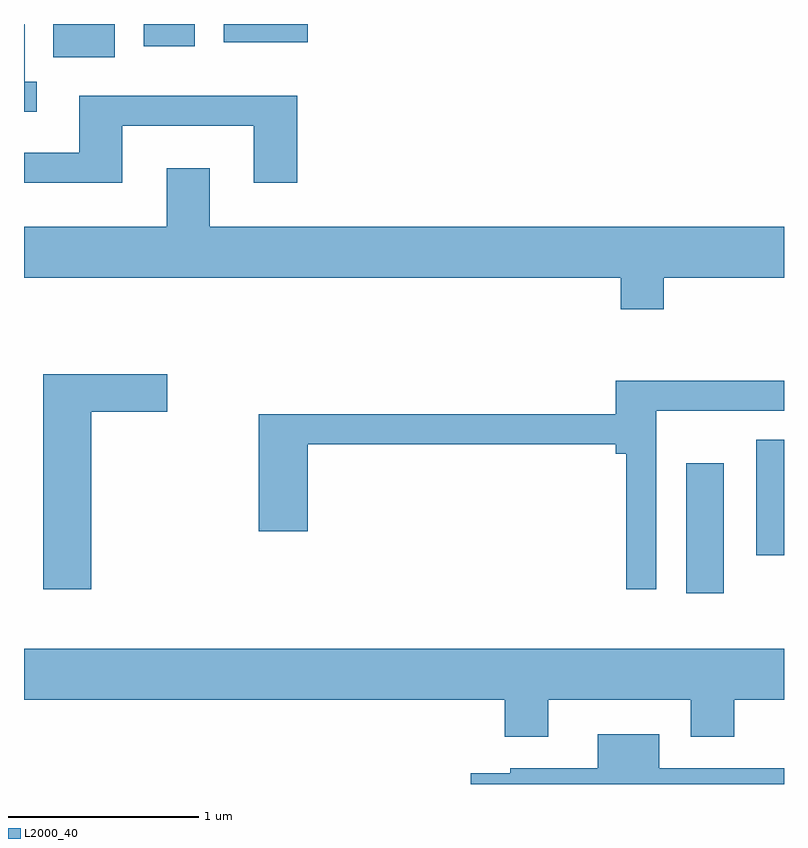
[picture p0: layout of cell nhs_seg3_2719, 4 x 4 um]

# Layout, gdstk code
import gdstk
lib = gdstk.Library(unit=1e-6, precision=1e-09)
def R(c, l, rs):  # rectangles x0, y0, x1, y1
    for r in rs: c.add(gdstk.rectangle(r[:2], r[2:], *l))
def P(c, l, *ps):  # polygons
    for p in ps: c.add(gdstk.Polygon(p, *l))
L2000_40 = (2000, 40)

nhs_seg3_2719 = lib.new_cell('nhs_seg3_2719')
R(nhs_seg3_2719, L2000_40, [(267.096,1250.896,267.294,1251.579), (267.466,1251.096,267.611,1251.704), (263.766,1253.716,264.089,1253.892), (264.241,1253.776,264.509,1253.892), (264.661,1253.796,265.104,1253.892)])
P(nhs_seg3_2719, L2000_40, [(263.678,1253.589),(263.614,1253.589),(263.614,1253.892),(263.611,1253.892),(263.611,1253.431),(263.678,1253.431)],
  [(264.129,1253.356),(264.821,1253.356),(264.821,1253.056),(265.049,1253.056),(265.049,1253.514),(263.901,1253.514),(263.901,1253.214),(263.611,1253.214),(263.611,1253.056),(264.129,1253.056)],
  [(266.979,1252.556),(267.611,1252.556),(267.611,1252.824),(264.589,1252.824),(264.589,1253.134),(264.361,1253.134),(264.361,1252.824),(263.611,1252.824),(263.611,1252.556),(266.751,1252.556),(266.751,1252.391),(266.979,1252.391)],
  [(263.964,1251.851),(264.364,1251.851),(264.364,1252.049),(263.711,1252.049),(263.711,1250.916),(263.964,1250.916)],
  [(266.939,1251.856),(267.611,1251.856),(267.611,1252.014),(266.726,1252.014),(266.726,1251.839),(264.846,1251.839),(264.846,1251.221),(265.104,1251.221),(265.104,1251.681),(266.726,1251.681),(266.726,1251.631),(266.781,1251.631),(266.781,1250.918),(266.939,1250.918)],
  [(266.369,1250.336),(267.121,1250.336),(267.121,1250.141),(267.349,1250.141),(267.349,1250.336),(267.611,1250.336),(267.611,1250.604),(263.611,1250.604),(263.611,1250.336),(266.141,1250.336),(266.141,1250.141),(266.369,1250.141)],
  [(267.611,1249.974),(266.954,1249.974),(266.954,1250.154),(266.631,1250.154),(266.631,1249.974),(266.171,1249.974),(266.171,1249.949),(265.961,1249.949),(265.961,1249.892),(267.611,1249.892)])

lib.write_gds('nhs_seg3_2719.gds')
